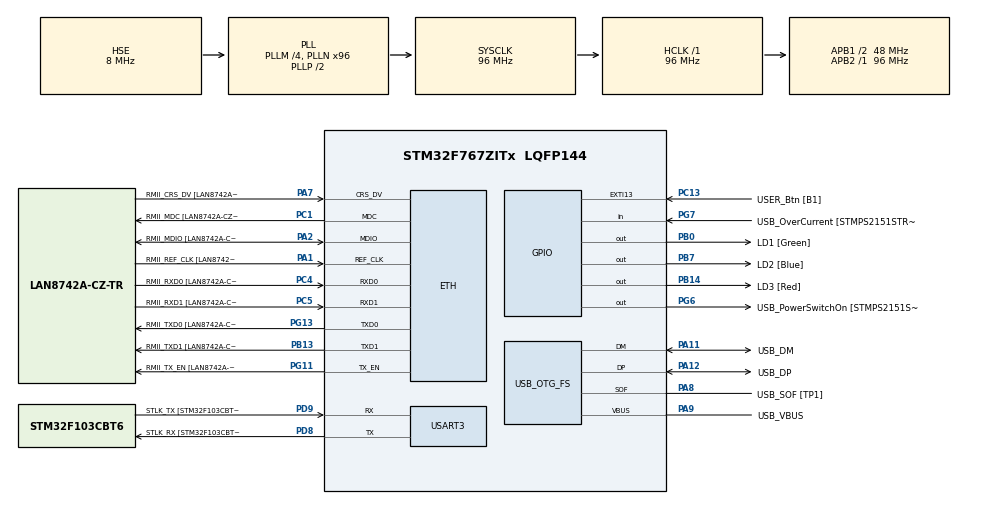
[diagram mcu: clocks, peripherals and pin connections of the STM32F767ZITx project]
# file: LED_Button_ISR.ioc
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ETH.MediaInterface=HAL_ETH_RMII_MODE
ETH.PHY_Name=LAN8742A_PHY_ADDRESS
ETH.PHY_Value=0
ETH.PhyAddress=0
Mcu.Family=STM32F7
Mcu.Name=STM32F767ZITx
Mcu.Package=LQFP144
NVIC.EXTI15_10_IRQn=true\:6\:0\:true\:false\:true\:true\:true\:true
NVIC.PriorityGroup=NVIC_PRIORITYGROUP_4
NVIC.TIM6_DAC_IRQn=true\:15\:0\:false\:false\:true\:false\:true\:true
NVIC.TimeBase=TIM6_DAC_IRQn
NVIC.TimeBaseIP=TIM6
PA1.GPIO_Label=RMII_REF_CLK [LAN8742A-CZ-TR_REFCLK0]
PA1.Mode=RMII
PA1.Signal=ETH_REF_CLK
PA10.GPIO_Label=USB_ID
PA10.Signal=USB_OTG_FS_ID
PA11.GPIO_Label=USB_DM
PA11.Mode=Device_Only
PA11.Signal=USB_OTG_FS_DM
PA12.GPIO_Label=USB_DP
PA12.Mode=Device_Only
PA12.Signal=USB_OTG_FS_DP
PA13.GPIO_Label=TMS
PA13.Mode=Serial_Wire
PA13.Signal=SYS_JTMS-SWDIO
PA14.GPIO_Label=TCK
PA14.Mode=Serial_Wire
PA14.Signal=SYS_JTCK-SWCLK
PA2.GPIO_Label=RMII_MDIO [LAN8742A-CZ-TR_MDIO]
PA2.Mode=RMII
PA2.Signal=ETH_MDIO
PA7.GPIO_Label=RMII_CRS_DV [LAN8742A-CZ-TR_CRS_DV]
PA7.Mode=RMII
PA7.Signal=ETH_CRS_DV
PA8.GPIO_Label=USB_SOF [TP1]
PA8.Mode=Activate_SOF_FS
PA8.Signal=USB_OTG_FS_SOF
PA9.GPIO_Label=USB_VBUS
PA9.Mode=Activate_VBUS
PA9.Signal=USB_OTG_FS_VBUS
PB0.GPIO_Label=LD1 [Green]
PB0.Signal=GPIO_Output
PB13.GPIO_Label=RMII_TXD1 [LAN8742A-CZ-TR_TXD1]
PB13.Mode=RMII
PB13.Signal=ETH_TXD1
PB14.GPIO_Label=LD3 [Red]
PB14.Signal=GPIO_Output
PB3.GPIO_Label=SWO
PB3.Signal=SYS_JTDO-SWO
PB7.GPIO_Label=LD2 [Blue]
PB7.Signal=GPIO_Output
PC1.GPIO_Label=RMII_MDC [LAN8742A-CZ-TR_MDC]
PC1.Mode=RMII
PC1.Signal=ETH_MDC
PC13.GPIO_Label=USER_Btn [B1]
PC13.GPIO_ModeDefaultEXTI=GPIO_MODE_IT_FALLING
PC13.Signal=GPXTI13
PC14/OSC32_IN.Mode=LSE-External-Oscillator
PC14/OSC32_IN.Signal=RCC_OSC32_IN
PC15/OSC32_OUT.Mode=LSE-External-Oscillator
PC15/OSC32_OUT.Signal=RCC_OSC32_OUT
PC4.GPIO_Label=RMII_RXD0 [LAN8742A-CZ-TR_RXD0]
PC4.Mode=RMII
PC4.Signal=ETH_RXD0
PC5.GPIO_Label=RMII_RXD1 [LAN8742A-CZ-TR_RXD1]
PC5.Mode=RMII
PC5.Signal=ETH_RXD1
PD8.GPIO_Label=STLK_RX [STM32F103CBT6_PA3]
PD8.Mode=Asynchronous
PD8.Signal=USART3_TX
PD9.GPIO_Label=STLK_TX [STM32F103CBT6_PA2]
PD9.Mode=Asynchronous
PD9.Signal=USART3_RX
PG11.GPIO_Label=RMII_TX_EN [LAN8742A-CZ-TR_TXEN]
PG11.Mode=RMII
PG11.Signal=ETH_TX_EN
PG13.GPIO_Label=RMII_TXD0 [LAN8742A-CZ-TR_TXD0]
PG13.Mode=RMII
PG13.Signal=ETH_TXD0
PG6.GPIO_Label=USB_PowerSwitchOn [STMPS2151STR_EN]
PG6.Signal=GPIO_Output
PG7.GPIO_Label=USB_OverCurrent [STMPS2151STR_FAULT]
PG7.Signal=GPIO_Input
PH0/OSC_IN.GPIO_Label=MCO [STM32F103CBT6_PA8]
PH0/OSC_IN.Mode=HSE-External-Clock-Source
PH0/OSC_IN.Signal=RCC_OSC_IN
PH1/OSC_OUT.Mode=HSE-External-Clock-Source
PH1/OSC_OUT.Signal=RCC_OSC_OUT
ProjectManager.HeapSize=0x200
ProjectManager.StackSize=0x400
ProjectManager.TargetToolchain=STM32CubeIDE
RCC.48MHZClocksFreq_Value=24000000
RCC.AHBFreq_Value=96000000
RCC.APB1CLKDivider=RCC_HCLK_DIV2
RCC.APB1Freq_Value=48000000
RCC.APB1TimFreq_Value=96000000
RCC.APB2Freq_Value=96000000
RCC.APB2TimFreq_Value=96000000
RCC.CortexFreq_Value=96000000
RCC.HCLKFreq_Value=96000000
RCC.HSE_VALUE=8000000
RCC.HSI_VALUE=16000000
RCC.PLLM=4
RCC.PLLMUL=RCC_PLL_MUL9
RCC.PLLN=96
RCC.PLLQ=4
RCC.PRESCALERUSB=RCC_USBCLKSOURCE_PLL_DIV1_5
RCC.SYSCLKFreq_VALUE=96000000
RCC.SYSCLKSource=RCC_SYSCLKSOURCE_PLLCLK
RCC.SYSCLKSourceVirtual=RCC_SYSCLKSOURCE_PLLCLK
RCC.USBFreq_Value=48000000
RCC.VCOOutputFreq_Value=192000000
USART3.VirtualMode-Asynchronous=VM_ASYNC
USB_OTG_FS.VirtualMode=Device_Only
VP_SYS_VS_tim6.Mode=TIM6
board=NUCLEO-F767ZI

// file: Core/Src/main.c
/* USER CODE BEGIN Header */
/**
  ******************************************************************************
  * @file           : main.c
  * @brief          : Main program body
  ******************************************************************************
  * @attention
  *
  * Copyright (c) 2024 STMicroelectronics.
  * All rights reserved.
  *
  * This software is licensed under terms that can be found in the LICENSE file
  * in the root directory of this software component.
  * If no LICENSE file comes with this software, it is provided AS-IS.
  *
  ******************************************************************************
  */
/* USER CODE END Header */
#include "main.h"
#include "string.h"

/* USER CODE BEGIN Includes */
#include "FreeRTOS.h"
#include "task.h"
/* USER CODE END Includes */

#if defined ( __ICCARM__ ) /*!< IAR Compiler */
#pragma location=0x2007c000
ETH_DMADescTypeDef  DMARxDscrTab[ETH_RX_DESC_CNT]; /* Ethernet Rx DMA Descriptors */
#pragma location=0x2007c0a0
ETH_DMADescTypeDef  DMATxDscrTab[ETH_TX_DESC_CNT]; /* Ethernet Tx DMA Descriptors */

#elif defined ( __CC_ARM )  /* MDK ARM Compiler */

__attribute__((at(0x2007c000))) ETH_DMADescTypeDef  DMARxDscrTab[ETH_RX_DESC_CNT]; /* Ethernet Rx DMA Descriptors */
__attribute__((at(0x2007c0a0))) ETH_DMADescTypeDef  DMATxDscrTab[ETH_TX_DESC_CNT]; /* Ethernet Tx DMA Descriptors */

#elif defined ( __GNUC__ ) /* GNU Compiler */

ETH_DMADescTypeDef DMARxDscrTab[ETH_RX_DESC_CNT] __attribute__((section(".RxDecripSection"))); /* Ethernet Rx DMA Descriptors */
ETH_DMADescTypeDef DMATxDscrTab[ETH_TX_DESC_CNT] __attribute__((section(".TxDecripSection")));   /* Ethernet Tx DMA Descriptors */
#endif

ETH_TxPacketConfig TxConfig;

ETH_HandleTypeDef heth;

UART_HandleTypeDef huart3;

PCD_HandleTypeDef hpcd_USB_OTG_FS;

/* USER CODE BEGIN PV */
TaskHandle_t GreenLEDTaskHandle;
TaskHandle_t BlueLEDTaskHandle;
TaskHandle_t RedLEDTaskHandle;

TaskHandle_t volatile NextTaskHandle = NULL;
/* USER CODE END PV */

void SystemClock_Config(void);
static void MX_GPIO_Init(void);
static void MX_ETH_Init(void);
static void MX_USART3_UART_Init(void);
static void MX_USB_OTG_FS_PCD_Init(void);
/* USER CODE BEGIN PFP */

static void GreenLEDHandler(void* parameters);
static void BlueLEDHandler(void* parameters);
static void RedLEDHandler(void* parameters);

/* USER CODE END PFP */

int main(void)
{

  /* USER CODE BEGIN 1 */
	BaseType_t status;
  /* USER CODE END 1 */

  /* MCU Configuration--------------------------------------------------------*/

  /* Reset of all peripherals, Initializes the Flash interface and the Systick. */
  HAL_Init();

  /* Configure the system clock */
  SystemClock_Config();

  /* USER CODE BEGIN SysInit */

  CoreDebug->DEMCR |= CoreDebug_DEMCR_TRCENA_Msk;
  DWT->LAR = 0xC5ACCE55;
  DWT->CYCCNT = 0;
  DWT->CTRL |= DWT_CTRL_CYCCNTENA_Msk;

  SEGGER_SYSVIEW_Conf();
  SEGGER_SYSVIEW_Start();
  /* USER CODE END SysInit */

  /* Initialize all configured peripherals */
  MX_GPIO_Init();
  MX_ETH_Init();
  MX_USART3_UART_Init();
  MX_USB_OTG_FS_PCD_Init();
  /* USER CODE BEGIN 2 */
  status = xTaskCreate(GreenLEDHandler, "Green_LED_Handler", 200, NULL, 3, &GreenLEDTaskHandle);
  configASSERT(status == pdPASS);

  NextTaskHandle = GreenLEDTaskHandle;

  status = xTaskCreate(BlueLEDHandler, "Blue_LED_Handler", 200, NULL, 2, &BlueLEDTaskHandle);
  configASSERT(status == pdPASS);

  status = xTaskCreate(RedLEDHandler, "Red_LED_Handler", 200, NULL, 1, &RedLEDTaskHandle);
  configASSERT(status == pdPASS);

  vTaskStartScheduler();
  /* USER CODE END 2 */

  /* Infinite loop */
  while (1)
  {

  }
}

void SystemClock_Config(void)
{
  RCC_OscInitTypeDef RCC_OscInitStruct = {0};
  RCC_ClkInitTypeDef RCC_ClkInitStruct = {0};

  /** Configure LSE Drive Capability
  */
  HAL_PWR_EnableBkUpAccess();

  /** Configure the main internal regulator output voltage
  */
  __HAL_RCC_PWR_CLK_ENABLE();
  __HAL_PWR_VOLTAGESCALING_CONFIG(PWR_REGULATOR_VOLTAGE_SCALE3);

  /** Initializes the RCC Oscillators according to the specified parameters
  * in the RCC_OscInitTypeDef structure.
  */
  RCC_OscInitStruct.OscillatorType = RCC_OSCILLATORTYPE_HSE;
  RCC_OscInitStruct.HSEState = RCC_HSE_BYPASS;
  RCC_OscInitStruct.PLL.PLLState = RCC_PLL_ON;
  RCC_OscInitStruct.PLL.PLLSource = RCC_PLLSOURCE_HSE;
  RCC_OscInitStruct.PLL.PLLM = 4;
  RCC_OscInitStruct.PLL.PLLN = 96;
  RCC_OscInitStruct.PLL.PLLP = RCC_PLLP_DIV2;
  RCC_OscInitStruct.PLL.PLLQ = 4;
  RCC_OscInitStruct.PLL.PLLR = 2;
  if (HAL_RCC_OscConfig(&RCC_OscInitStruct) != HAL_OK)
  {
    Error_Handler();
  }

  /** Activate the Over-Drive mode
  */
  if (HAL_PWREx_EnableOverDrive() != HAL_OK)
  {
    Error_Handler();
  }

  /** Initializes the CPU, AHB and APB buses clocks
  */
  RCC_ClkInitStruct.ClockType = RCC_CLOCKTYPE_HCLK|RCC_CLOCKTYPE_SYSCLK
                              |RCC_CLOCKTYPE_PCLK1|RCC_CLOCKTYPE_PCLK2;
  RCC_ClkInitStruct.SYSCLKSource = RCC_SYSCLKSOURCE_PLLCLK;
  RCC_ClkInitStruct.AHBCLKDivider = RCC_SYSCLK_DIV1;
  RCC_ClkInitStruct.APB1CLKDivider = RCC_HCLK_DIV2;
  RCC_ClkInitStruct.APB2CLKDivider = RCC_HCLK_DIV1;

  if (HAL_RCC_ClockConfig(&RCC_ClkInitStruct, FLASH_LATENCY_3) != HAL_OK)
  {
    Error_Handler();
  }
}

static void MX_ETH_Init(void)
{

   static uint8_t MACAddr[6];

  heth.Instance = ETH;
  MACAddr[0] = 0x00;
  MACAddr[1] = 0x80;
  MACAddr[2] = 0xE1;
  MACAddr[3] = 0x00;
  MACAddr[4] = 0x00;
  MACAddr[5] = 0x00;
  heth.Init.MACAddr = &MACAddr[0];
  heth.Init.MediaInterface = HAL_ETH_RMII_MODE;
  heth.Init.TxDesc = DMATxDscrTab;
  heth.Init.RxDesc = DMARxDscrTab;
  heth.Init.RxBuffLen = 1524;

  if (HAL_ETH_Init(&heth) != HAL_OK)
  {
    Error_Handler();
  }

  memset(&TxConfig, 0 , sizeof(ETH_TxPacketConfig));
  TxConfig.Attributes = ETH_TX_PACKETS_FEATURES_CSUM | ETH_TX_PACKETS_FEATURES_CRCPAD;
  TxConfig.ChecksumCtrl = ETH_CHECKSUM_IPHDR_PAYLOAD_INSERT_PHDR_CALC;
  TxConfig.CRCPadCtrl = ETH_CRC_PAD_INSERT;

}

static void MX_USART3_UART_Init(void)
{

  huart3.Instance = USART3;
  huart3.Init.BaudRate = 115200;
  huart3.Init.WordLength = UART_WORDLENGTH_8B;
  huart3.Init.StopBits = UART_STOPBITS_1;
  huart3.Init.Parity = UART_PARITY_NONE;
  huart3.Init.Mode = UART_MODE_TX_RX;
  huart3.Init.HwFlowCtl = UART_HWCONTROL_NONE;
  huart3.Init.OverSampling = UART_OVERSAMPLING_16;
  huart3.Init.OneBitSampling = UART_ONE_BIT_SAMPLE_DISABLE;
  huart3.AdvancedInit.AdvFeatureInit = UART_ADVFEATURE_NO_INIT;
  if (HAL_UART_Init(&huart3) != HAL_OK)
  {
    Error_Handler();
  }

}

static void MX_USB_OTG_FS_PCD_Init(void)
{

  hpcd_USB_OTG_FS.Instance = USB_OTG_FS;
  hpcd_USB_OTG_FS.Init.dev_endpoints = 6;
  hpcd_USB_OTG_FS.Init.speed = PCD_SPEED_FULL;
  hpcd_USB_OTG_FS.Init.dma_enable = DISABLE;
  hpcd_USB_OTG_FS.Init.phy_itface = PCD_PHY_EMBEDDED;
  hpcd_USB_OTG_FS.Init.Sof_enable = ENABLE;
  hpcd_USB_OTG_FS.Init.low_power_enable = DISABLE;
  hpcd_USB_OTG_FS.Init.lpm_enable = DISABLE;
  hpcd_USB_OTG_FS.Init.vbus_sensing_enable = ENABLE;
  hpcd_USB_OTG_FS.Init.use_dedicated_ep1 = DISABLE;
  if (HAL_PCD_Init(&hpcd_USB_OTG_FS) != HAL_OK)
  {
    Error_Handler();
  }

}

static void MX_GPIO_Init(void)
{
  GPIO_InitTypeDef GPIO_InitStruct = {0};

  /* GPIO Ports Clock Enable */
  __HAL_RCC_GPIOC_CLK_ENABLE();
  __HAL_RCC_GPIOH_CLK_ENABLE();
  __HAL_RCC_GPIOA_CLK_ENABLE();
  __HAL_RCC_GPIOB_CLK_ENABLE();
  __HAL_RCC_GPIOD_CLK_ENABLE();
  __HAL_RCC_GPIOG_CLK_ENABLE();

  /*Configure GPIO pin Output Level */
  HAL_GPIO_WritePin(GPIOB, LD1_Pin|LD3_Pin|LD2_Pin, GPIO_PIN_RESET);

  /*Configure GPIO pin Output Level */
  HAL_GPIO_WritePin(USB_PowerSwitchOn_GPIO_Port, USB_PowerSwitchOn_Pin, GPIO_PIN_RESET);

  /*Configure GPIO pin : USER_Btn_Pin */
  GPIO_InitStruct.Pin = USER_Btn_Pin;
  GPIO_InitStruct.Mode = GPIO_MODE_IT_FALLING;
  GPIO_InitStruct.Pull = GPIO_NOPULL;
  HAL_GPIO_Init(USER_Btn_GPIO_Port, &GPIO_InitStruct);

  /*Configure GPIO pins : LD1_Pin LD3_Pin LD2_Pin */
  GPIO_InitStruct.Pin = LD1_Pin|LD3_Pin|LD2_Pin;
  GPIO_InitStruct.Mode = GPIO_MODE_OUTPUT_PP;
  GPIO_InitStruct.Pull = GPIO_NOPULL;
  GPIO_InitStruct.Speed = GPIO_SPEED_FREQ_LOW;
  HAL_GPIO_Init(GPIOB, &GPIO_InitStruct);

  /*Configure GPIO pin : USB_PowerSwitchOn_Pin */
  GPIO_InitStruct.Pin = USB_PowerSwitchOn_Pin;
  GPIO_InitStruct.Mode = GPIO_MODE_OUTPUT_PP;
  GPIO_InitStruct.Pull = GPIO_NOPULL;
  GPIO_InitStruct.Speed = GPIO_SPEED_FREQ_LOW;
  HAL_GPIO_Init(USB_PowerSwitchOn_GPIO_Port, &GPIO_InitStruct);

  /*Configure GPIO pin : USB_OverCurrent_Pin */
  GPIO_InitStruct.Pin = USB_OverCurrent_Pin;
  GPIO_InitStruct.Mode = GPIO_MODE_INPUT;
  GPIO_InitStruct.Pull = GPIO_NOPULL;
  HAL_GPIO_Init(USB_OverCurrent_GPIO_Port, &GPIO_InitStruct);

  /* EXTI interrupt init*/
  HAL_NVIC_SetPriority(EXTI15_10_IRQn, 6, 0);
  HAL_NVIC_EnableIRQ(EXTI15_10_IRQn);

}

/* USER CODE BEGIN 4 */

void button_interrupt_handler(void)
{
	traceISR_ENTER();
	xTaskNotifyFromISR(NextTaskHandle, 0, eNoAction, NULL);
	traceISR_EXIT();
}

static void GreenLEDHandler(void* parameters)
{
	BaseType_t status;
	while(1)
	{
		SEGGER_SYSVIEW_PrintfTarget("Toggling Green LED");
		HAL_GPIO_TogglePin(GPIOB, GPIO_PIN_0);
		status = xTaskNotifyWait(0, 0, NULL, pdMS_TO_TICKS(1000));

		if(status == pdTRUE)
		{
			portENTER_CRITICAL();
			NextTaskHandle = BlueLEDTaskHandle;
			HAL_GPIO_WritePin(GPIOB, GPIO_PIN_0, GPIO_PIN_SET);
			portEXIT_CRITICAL();

			vTaskSuspend(NULL);
		}
	}
}

static void BlueLEDHandler(void* parameters)
{
	BaseType_t status;

	while(1)
	{
		SEGGER_SYSVIEW_PrintfTarget("Toggling Blue LED");
		HAL_GPIO_TogglePin(GPIOB, GPIO_PIN_7);

		status = xTaskNotifyWait(0, 0, NULL, pdMS_TO_TICKS(800));

		if(status == pdTRUE)
		{
			portENTER_CRITICAL();
			NextTaskHandle = RedLEDTaskHandle;
			HAL_GPIO_WritePin(GPIOB, GPIO_PIN_7, GPIO_PIN_SET);
			portEXIT_CRITICAL();

			vTaskSuspend(NULL);
		}
	}
}

static void RedLEDHandler(void* parameters)
{
	BaseType_t status;

	while(1)
	{
		SEGGER_SYSVIEW_PrintfTarget("Toggling Blue LED");
		HAL_GPIO_TogglePin(GPIOB, GPIO_PIN_14);

		status = xTaskNotifyWait(0, 0, NULL, pdMS_TO_TICKS(400));

		if(status == pdTRUE)
		{
			portENTER_CRITICAL();
			NextTaskHandle = NULL;
			HAL_GPIO_WritePin(GPIOB, GPIO_PIN_14, GPIO_PIN_SET);
			portEXIT_CRITICAL();

			vTaskSuspend(NULL);
		}
	}
}
/* USER CODE END 4 */

void HAL_TIM_PeriodElapsedCallback(TIM_HandleTypeDef *htim)
{
  if (htim->Instance == TIM6) {
    HAL_IncTick();
  }
}

void Error_Handler(void)
{
  __disable_irq();
  while (1)
  {
  }
}
